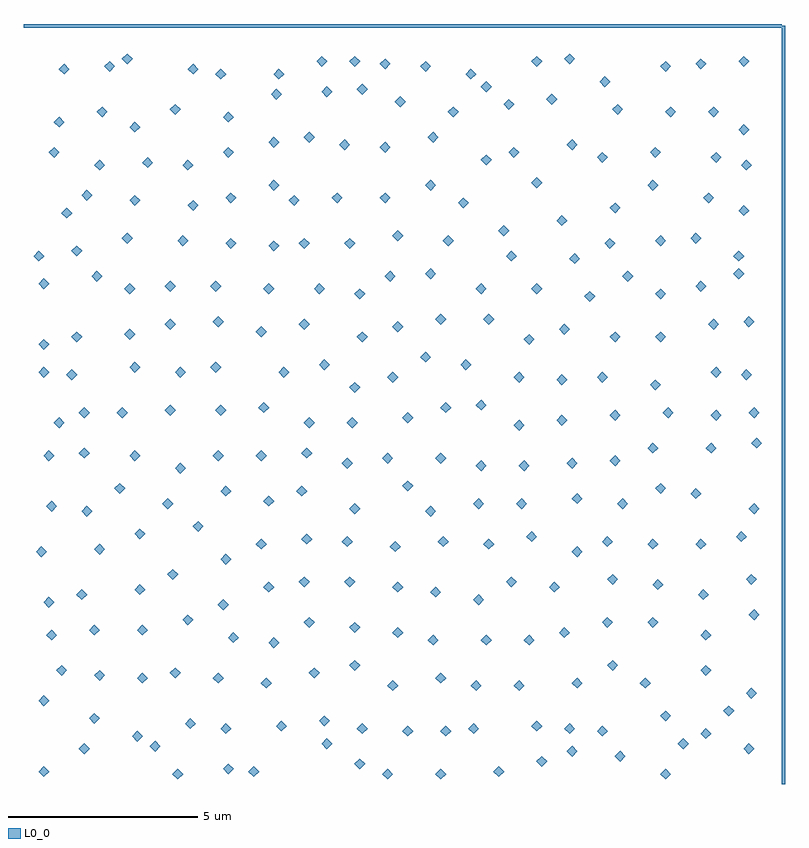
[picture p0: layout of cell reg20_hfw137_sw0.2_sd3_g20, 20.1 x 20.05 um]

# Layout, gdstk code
import gdstk
lib = gdstk.Library(unit=1e-6, precision=1e-11)
def R(c, l, rs):  # rectangles x0, y0, x1, y1
    for r in rs: c.add(gdstk.rectangle(r[:2], r[2:], *l))
def P(c, l, *ps):  # polygons
    for p in ps: c.add(gdstk.Polygon(p, *l))
L0_0 = (0, 0)

reg20_hfw137_sw0_2_sd3_g = lib.new_cell('reg20_hfw137_sw0.2_sd3_g20')
R(reg20_hfw137_sw0_2_sd3_g, L0_0, [(20,0,20.1,20), (0,19.95,20,20.05)])
P(reg20_hfw137_sw0_2_sd3_g, L0_0, [(0.404,14.0707),(0.5455,13.9293),(0.404,13.7879),(0.2626,13.9293)],
  [(0.4707,6.2707),(0.6121,6.1293),(0.4707,5.9879),(0.3293,6.1293)],
  [(0.5374,0.4707),(0.6788,0.3293),(0.5374,0.1879),(0.396,0.3293)],
  [(0.5374,2.3374),(0.6788,2.196),(0.5374,2.0545),(0.396,2.196)],
  [(0.5374,11.004),(0.6788,10.8626),(0.5374,10.7212),(0.396,10.8626)],
  [(0.5374,11.7374),(0.6788,11.596),(0.5374,11.4545),(0.396,11.596)],
  [(0.5374,13.3374),(0.6788,13.196),(0.5374,13.0545),(0.396,13.196)],
  [(0.6707,4.9374),(0.8121,4.796),(0.6707,4.6545),(0.5293,4.796)],
  [(0.6707,8.804),(0.8121,8.6626),(0.6707,8.5212),(0.5293,8.6626)],
  [(0.7374,4.0707),(0.8788,3.9293),(0.7374,3.7879),(0.596,3.9293)],
  [(0.7374,7.4707),(0.8788,7.3293),(0.7374,7.1879),(0.596,7.3293)],
  [(0.804,16.804),(0.9455,16.6626),(0.804,16.5212),(0.6626,16.6626)],
  [(0.9374,9.6707),(1.0788,9.5293),(0.9374,9.3879),(0.796,9.5293)],
  [(0.9374,17.604),(1.0788,17.4626),(0.9374,17.3212),(0.796,17.4626)],
  [(1.004,3.1374),(1.1455,2.996),(1.004,2.8545),(0.8626,2.996)],
  [(1.0707,19.004),(1.2121,18.8626),(1.0707,18.7212),(0.9293,18.8626)],
  [(1.1374,15.204),(1.2788,15.0626),(1.1374,14.9212),(0.996,15.0626)],
  [(1.2707,10.9374),(1.4121,10.796),(1.2707,10.6545),(1.1293,10.796)],
  [(1.404,11.9374),(1.5455,11.796),(1.404,11.6545),(1.2626,11.796)],
  [(1.404,14.204),(1.5455,14.0626),(1.404,13.9212),(1.2626,14.0626)],
  [(1.5374,5.1374),(1.6788,4.996),(1.5374,4.8545),(1.396,4.996)],
  [(1.604,1.0707),(1.7455,0.9293),(1.604,0.7879),(1.4626,0.9293)],
  [(1.604,8.8707),(1.7455,8.7293),(1.604,8.5879),(1.4626,8.7293)],
  [(1.604,9.9374),(1.7455,9.796),(1.604,9.6545),(1.4626,9.796)],
  [(1.6707,7.3374),(1.8121,7.196),(1.6707,7.0545),(1.5293,7.196)],
  [(1.6707,15.6707),(1.8121,15.5293),(1.6707,15.3879),(1.5293,15.5293)],
  [(1.8707,1.8707),(2.0121,1.7293),(1.8707,1.5879),(1.7293,1.7293)],
  [(1.8707,4.204),(2.0121,4.0626),(1.8707,3.9212),(1.7293,4.0626)],
  [(1.9374,13.5374),(2.0788,13.396),(1.9374,13.2545),(1.796,13.396)],
  [(2.004,3.004),(2.1455,2.8626),(2.004,2.7212),(1.8626,2.8626)],
  [(2.004,6.3374),(2.1455,6.196),(2.004,6.0545),(1.8626,6.196)],
  [(2.004,16.4707),(2.1455,16.3293),(2.004,16.1879),(1.8626,16.3293)],
  [(2.0707,17.8707),(2.2121,17.7293),(2.0707,17.5879),(1.9293,17.7293)],
  [(2.2707,19.0707),(2.4121,18.9293),(2.2707,18.7879),(2.1293,18.9293)],
  [(2.5374,7.9374),(2.6788,7.796),(2.5374,7.6545),(2.396,7.796)],
  [(2.604,9.9374),(2.7455,9.796),(2.604,9.6545),(2.4626,9.796)],
  [(2.7374,14.5374),(2.8788,14.396),(2.7374,14.2545),(2.596,14.396)],
  [(2.7374,19.2707),(2.8788,19.1293),(2.7374,18.9879),(2.596,19.1293)],
  [(2.804,12.004),(2.9455,11.8626),(2.804,11.7212),(2.6626,11.8626)],
  [(2.804,13.204),(2.9455,13.0626),(2.804,12.9212),(2.6626,13.0626)],
  [(2.9374,8.804),(3.0788,8.6626),(2.9374,8.5212),(2.796,8.6626)],
  [(2.9374,11.1374),(3.0788,10.996),(2.9374,10.8545),(2.796,10.996)],
  [(2.9374,15.5374),(3.0788,15.396),(2.9374,15.2545),(2.796,15.396)],
  [(2.9374,17.4707),(3.0788,17.3293),(2.9374,17.1879),(2.796,17.3293)],
  [(3.004,1.404),(3.1455,1.2626),(3.004,1.1212),(2.8626,1.2626)],
  [(3.0707,5.2707),(3.2121,5.1293),(3.0707,4.9879),(2.9293,5.1293)],
  [(3.0707,6.7374),(3.2121,6.596),(3.0707,6.4545),(2.9293,6.596)],
  [(3.1374,2.9374),(3.2788,2.796),(3.1374,2.6545),(2.996,2.796)],
  [(3.1374,4.204),(3.2788,4.0626),(3.1374,3.9212),(2.996,4.0626)],
  [(3.2707,16.5374),(3.4121,16.396),(3.2707,16.2545),(3.1293,16.396)],
  [(3.4707,1.1374),(3.6121,0.996),(3.4707,0.8545),(3.3293,0.996)],
  [(3.804,7.5374),(3.9455,7.396),(3.804,7.2545),(3.6626,7.396)],
  [(3.8707,10.004),(4.0121,9.8626),(3.8707,9.7212),(3.7293,9.8626)],
  [(3.8707,12.2707),(4.0121,12.1293),(3.8707,11.9879),(3.7293,12.1293)],
  [(3.8707,13.2707),(4.0121,13.1293),(3.8707,12.9879),(3.7293,13.1293)],
  [(3.9374,5.6707),(4.0788,5.5293),(3.9374,5.3879),(3.796,5.5293)],
  [(4.004,3.0707),(4.1455,2.9293),(4.004,2.7879),(3.8626,2.9293)],
  [(4.004,17.9374),(4.1455,17.796),(4.004,17.6545),(3.8626,17.796)],
  [(4.0707,0.404),(4.2121,0.2626),(4.0707,0.1212),(3.9293,0.2626)],
  [(4.1374,8.4707),(4.2788,8.3293),(4.1374,8.1879),(3.996,8.3293)],
  [(4.1374,11.004),(4.2788,10.8626),(4.1374,10.7212),(3.996,10.8626)],
  [(4.204,14.4707),(4.3455,14.3293),(4.204,14.1879),(4.0626,14.3293)],
  [(4.3374,4.4707),(4.4788,4.3293),(4.3374,4.1879),(4.196,4.3293)],
  [(4.3374,16.4707),(4.4788,16.3293),(4.3374,16.1879),(4.196,16.3293)],
  [(4.404,1.7374),(4.5455,1.596),(4.404,1.4545),(4.2626,1.596)],
  [(4.4707,15.404),(4.6121,15.2626),(4.4707,15.1212),(4.3293,15.2626)],
  [(4.4707,19.004),(4.6121,18.8626),(4.4707,18.7212),(4.3293,18.8626)],
  [(4.604,6.9374),(4.7455,6.796),(4.604,6.6545),(4.4626,6.796)],
  [(5.0707,11.1374),(5.2121,10.996),(5.0707,10.8545),(4.9293,10.996)],
  [(5.0707,13.2707),(5.2121,13.1293),(5.0707,12.9879),(4.9293,13.1293)],
  [(5.1374,2.9374),(5.2788,2.796),(5.1374,2.6545),(4.996,2.796)],
  [(5.1374,8.804),(5.2788,8.6626),(5.1374,8.5212),(4.996,8.6626)],
  [(5.1374,12.3374),(5.2788,12.196),(5.1374,12.0545),(4.996,12.196)],
  [(5.204,10.004),(5.3455,9.8626),(5.204,9.7212),(5.0626,9.8626)],
  [(5.204,18.8707),(5.3455,18.7293),(5.204,18.5879),(5.0626,18.7293)],
  [(5.2707,4.8707),(5.4121,4.7293),(5.2707,4.5879),(5.1293,4.7293)],
  [(5.3374,1.604),(5.4788,1.4626),(5.3374,1.3212),(5.196,1.4626)],
  [(5.3374,6.0707),(5.4788,5.9293),(5.3374,5.7879),(5.196,5.9293)],
  [(5.3374,7.8707),(5.4788,7.7293),(5.3374,7.5879),(5.196,7.7293)],
  [(5.404,0.5374),(5.5455,0.396),(5.404,0.2545),(5.2626,0.396)],
  [(5.404,16.804),(5.5455,16.6626),(5.404,16.5212),(5.2626,16.6626)],
  [(5.404,17.7374),(5.5455,17.596),(5.404,17.4545),(5.2626,17.596)],
  [(5.4707,14.404),(5.6121,14.2626),(5.4707,14.1212),(5.3293,14.2626)],
  [(5.4707,15.604),(5.6121,15.4626),(5.4707,15.3212),(5.3293,15.4626)],
  [(5.5374,4.004),(5.6788,3.8626),(5.5374,3.7212),(5.396,3.8626)],
  [(6.0707,0.4707),(6.2121,0.3293),(6.0707,0.1879),(5.9293,0.3293)],
  [(6.2707,6.4707),(6.4121,6.3293),(6.2707,6.1879),(6.1293,6.3293)],
  [(6.2707,8.804),(6.4121,8.6626),(6.2707,8.5212),(6.1293,8.6626)],
  [(6.2707,12.0707),(6.4121,11.9293),(6.2707,11.7879),(6.1293,11.9293)],
  [(6.3374,10.0707),(6.4788,9.9293),(6.3374,9.7879),(6.196,9.9293)],
  [(6.404,2.804),(6.5455,2.6626),(6.404,2.5212),(6.2626,2.6626)],
  [(6.4707,5.3374),(6.6121,5.196),(6.4707,5.0545),(6.3293,5.196)],
  [(6.4707,7.604),(6.6121,7.4626),(6.4707,7.3212),(6.3293,7.4626)],
  [(6.4707,13.204),(6.6121,13.0626),(6.4707,12.9212),(6.3293,13.0626)],
  [(6.604,3.8707),(6.7455,3.7293),(6.604,3.5879),(6.4626,3.7293)],
  [(6.604,14.3374),(6.7455,14.196),(6.604,14.0545),(6.4626,14.196)],
  [(6.604,15.9374),(6.7455,15.796),(6.604,15.6545),(6.4626,15.796)],
  [(6.604,17.0707),(6.7455,16.9293),(6.604,16.7879),(6.4626,16.9293)],
  [(6.6707,18.3374),(6.8121,18.196),(6.6707,18.0545),(6.5293,18.196)],
  [(6.7374,18.8707),(6.8788,18.7293),(6.7374,18.5879),(6.596,18.7293)],
  [(6.804,1.6707),(6.9455,1.5293),(6.804,1.3879),(6.6626,1.5293)],
  [(6.8707,11.004),(7.0121,10.8626),(6.8707,10.7212),(6.7293,10.8626)],
  [(7.1374,15.5374),(7.2788,15.396),(7.1374,15.2545),(6.996,15.396)],
  [(7.3374,7.8707),(7.4788,7.7293),(7.3374,7.5879),(7.196,7.7293)],
  [(7.404,5.4707),(7.5455,5.3293),(7.404,5.1879),(7.2626,5.3293)],
  [(7.404,12.2707),(7.5455,12.1293),(7.404,11.9879),(7.2626,12.1293)],
  [(7.404,14.404),(7.5455,14.2626),(7.404,14.1212),(7.2626,14.2626)],
  [(7.4707,6.604),(7.6121,6.4626),(7.4707,6.3212),(7.3293,6.4626)],
  [(7.4707,8.8707),(7.6121,8.7293),(7.4707,8.5879),(7.3293,8.7293)],
  [(7.5374,4.404),(7.6788,4.2626),(7.5374,4.1212),(7.396,4.2626)],
  [(7.5374,9.6707),(7.6788,9.5293),(7.5374,9.3879),(7.396,9.5293)],
  [(7.5374,17.204),(7.6788,17.0626),(7.5374,16.9212),(7.396,17.0626)],
  [(7.6707,3.0707),(7.8121,2.9293),(7.6707,2.7879),(7.5293,2.9293)],
  [(7.804,13.204),(7.9455,13.0626),(7.804,12.9212),(7.6626,13.0626)],
  [(7.8707,19.204),(8.0121,19.0626),(7.8707,18.9212),(7.7293,19.0626)],
  [(7.9374,1.804),(8.0788,1.6626),(7.9374,1.5212),(7.796,1.6626)],
  [(7.9374,11.204),(8.0788,11.0626),(7.9374,10.9212),(7.796,11.0626)],
  [(8.004,1.204),(8.1455,1.0626),(8.004,0.9212),(7.8626,1.0626)],
  [(8.004,18.404),(8.1455,18.2626),(8.004,18.1212),(7.8626,18.2626)],
  [(8.2707,15.604),(8.4121,15.4626),(8.2707,15.3212),(8.1293,15.4626)],
  [(8.4707,17.004),(8.6121,16.8626),(8.4707,16.7212),(8.3293,16.8626)],
  [(8.5374,6.5374),(8.6788,6.396),(8.5374,6.2545),(8.396,6.396)],
  [(8.5374,8.604),(8.6788,8.4626),(8.5374,8.3212),(8.396,8.4626)],
  [(8.604,5.4707),(8.7455,5.3293),(8.604,5.1879),(8.4626,5.3293)],
  [(8.604,14.404),(8.7455,14.2626),(8.604,14.1212),(8.4626,14.2626)],
  [(8.6707,9.6707),(8.8121,9.5293),(8.6707,9.3879),(8.5293,9.5293)],
  [(8.7374,3.2707),(8.8788,3.1293),(8.7374,2.9879),(8.596,3.1293)],
  [(8.7374,4.2707),(8.8788,4.1293),(8.7374,3.9879),(8.596,4.1293)],
  [(8.7374,7.404),(8.8788,7.2626),(8.7374,7.1212),(8.596,7.2626)],
  [(8.7374,10.604),(8.8788,10.4626),(8.7374,10.3212),(8.596,10.4626)],
  [(8.7374,19.204),(8.8788,19.0626),(8.7374,18.9212),(8.596,19.0626)],
  [(8.8707,0.6707),(9.0121,0.5293),(8.8707,0.3879),(8.7293,0.5293)],
  [(8.8707,13.0707),(9.0121,12.9293),(8.8707,12.7879),(8.7293,12.9293)],
  [(8.9374,1.604),(9.0788,1.4626),(8.9374,1.3212),(8.796,1.4626)],
  [(8.9374,11.9374),(9.0788,11.796),(8.9374,11.6545),(8.796,11.796)],
  [(8.9374,18.4707),(9.0788,18.3293),(8.9374,18.1879),(8.796,18.3293)],
  [(9.5374,15.604),(9.6788,15.4626),(9.5374,15.3212),(9.396,15.4626)],
  [(9.5374,16.9374),(9.6788,16.796),(9.5374,16.6545),(9.396,16.796)],
  [(9.5374,19.1374),(9.6788,18.996),(9.5374,18.8545),(9.396,18.996)],
  [(9.604,0.404),(9.7455,0.2626),(9.604,0.1212),(9.4626,0.2626)],
  [(9.604,8.7374),(9.7455,8.596),(9.604,8.4545),(9.4626,8.596)],
  [(9.6707,13.5374),(9.8121,13.396),(9.6707,13.2545),(9.5293,13.396)],
  [(9.7374,2.7374),(9.8788,2.596),(9.7374,2.4545),(9.596,2.596)],
  [(9.7374,10.8707),(9.8788,10.7293),(9.7374,10.5879),(9.596,10.7293)],
  [(9.804,6.404),(9.9455,6.2626),(9.804,6.1212),(9.6626,6.2626)],
  [(9.8707,4.1374),(10.0121,3.996),(9.8707,3.8545),(9.7293,3.996)],
  [(9.8707,5.3374),(10.0121,5.196),(9.8707,5.0545),(9.7293,5.196)],
  [(9.8707,12.204),(10.0121,12.0626),(9.8707,11.9212),(9.7293,12.0626)],
  [(9.8707,14.604),(10.0121,14.4626),(9.8707,14.3212),(9.7293,14.4626)],
  [(9.9374,18.1374),(10.0788,17.996),(9.9374,17.8545),(9.796,17.996)],
  [(10.1374,1.5374),(10.2788,1.396),(10.1374,1.2545),(9.996,1.396)],
  [(10.1374,8.004),(10.2788,7.8626),(10.1374,7.7212),(9.996,7.8626)],
  [(10.1374,9.804),(10.2788,9.6626),(10.1374,9.5212),(9.996,9.6626)],
  [(10.604,11.404),(10.7455,11.2626),(10.604,11.1212),(10.4626,11.2626)],
  [(10.604,19.0707),(10.7455,18.9293),(10.604,18.7879),(10.4626,18.9293)],
  [(10.7374,7.3374),(10.8788,7.196),(10.7374,7.0545),(10.596,7.196)],
  [(10.7374,13.604),(10.8788,13.4626),(10.7374,13.3212),(10.596,13.4626)],
  [(10.7374,15.9374),(10.8788,15.796),(10.7374,15.6545),(10.596,15.796)],
  [(10.804,3.9374),(10.9455,3.796),(10.804,3.6545),(10.6626,3.796)],
  [(10.804,17.204),(10.9455,17.0626),(10.804,16.9212),(10.6626,17.0626)],
  [(10.8707,5.204),(11.0121,5.0626),(10.8707,4.9212),(10.7293,5.0626)],
  [(11.004,0.404),(11.1455,0.2626),(11.004,0.1212),(10.8626,0.2626)],
  [(11.004,2.9374),(11.1455,2.796),(11.004,2.6545),(10.8626,2.796)],
  [(11.004,8.7374),(11.1455,8.596),(11.004,8.4545),(10.8626,8.596)],
  [(11.004,12.404),(11.1455,12.2626),(11.004,12.1212),(10.8626,12.2626)],
  [(11.0707,6.5374),(11.2121,6.396),(11.0707,6.2545),(10.9293,6.396)],
  [(11.1374,1.5374),(11.2788,1.396),(11.1374,1.2545),(10.996,1.396)],
  [(11.1374,10.0707),(11.2788,9.9293),(11.1374,9.7879),(10.996,9.9293)],
  [(11.204,14.4707),(11.3455,14.3293),(11.204,14.1879),(11.0626,14.3293)],
  [(11.3374,17.8707),(11.4788,17.7293),(11.3374,17.5879),(11.196,17.7293)],
  [(11.604,15.4707),(11.7455,15.3293),(11.604,15.1879),(11.4626,15.3293)],
  [(11.6707,11.204),(11.8121,11.0626),(11.6707,10.9212),(11.5293,11.0626)],
  [(11.804,18.8707),(11.9455,18.7293),(11.804,18.5879),(11.6626,18.7293)],
  [(11.8707,1.604),(12.0121,1.4626),(11.8707,1.3212),(11.7293,1.4626)],
  [(11.9374,2.7374),(12.0788,2.596),(11.9374,2.4545),(11.796,2.596)],
  [(12.004,5.004),(12.1455,4.8626),(12.004,4.7212),(11.8626,4.8626)],
  [(12.004,7.5374),(12.1455,7.396),(12.004,7.2545),(11.8626,7.396)],
  [(12.0707,8.5374),(12.2121,8.396),(12.0707,8.2545),(11.9293,8.396)],
  [(12.0707,10.1374),(12.2121,9.996),(12.0707,9.8545),(11.9293,9.996)],
  [(12.0707,13.204),(12.2121,13.0626),(12.0707,12.9212),(11.9293,13.0626)],
  [(12.204,3.9374),(12.3455,3.796),(12.204,3.6545),(12.0626,3.796)],
  [(12.204,16.604),(12.3455,16.4626),(12.204,16.3212),(12.0626,16.4626)],
  [(12.204,18.5374),(12.3455,18.396),(12.204,18.2545),(12.0626,18.396)],
  [(12.2707,6.4707),(12.4121,6.3293),(12.2707,6.1879),(12.1293,6.3293)],
  [(12.2707,12.404),(12.4121,12.2626),(12.2707,12.1212),(12.1293,12.2626)],
  [(12.5374,0.4707),(12.6788,0.3293),(12.5374,0.1879),(12.396,0.3293)],
  [(12.6707,14.7374),(12.8121,14.596),(12.6707,14.4545),(12.5293,14.596)],
  [(12.804,18.0707),(12.9455,17.9293),(12.804,17.7879),(12.6626,17.9293)],
  [(12.8707,5.4707),(13.0121,5.3293),(12.8707,5.1879),(12.7293,5.3293)],
  [(12.8707,14.0707),(13.0121,13.9293),(12.8707,13.7879),(12.7293,13.9293)],
  [(12.9374,16.804),(13.0788,16.6626),(12.9374,16.5212),(12.796,16.6626)],
  [(13.0707,2.7374),(13.2121,2.596),(13.0707,2.4545),(12.9293,2.596)],
  [(13.0707,9.604),(13.2121,9.4626),(13.0707,9.3212),(12.9293,9.4626)],
  [(13.0707,10.8707),(13.2121,10.7293),(13.0707,10.5879),(12.9293,10.7293)],
  [(13.1374,7.5374),(13.2788,7.396),(13.1374,7.2545),(12.996,7.396)],
  [(13.204,8.5374),(13.3455,8.396),(13.204,8.2545),(13.0626,8.396)],
  [(13.3374,3.9374),(13.4788,3.796),(13.3374,3.6545),(13.196,3.796)],
  [(13.3374,11.8707),(13.4788,11.7293),(13.3374,11.5879),(13.196,11.7293)],
  [(13.404,6.6707),(13.5455,6.5293),(13.404,6.3879),(13.2626,6.5293)],
  [(13.5374,1.6707),(13.6788,1.5293),(13.5374,1.3879),(13.396,1.5293)],
  [(13.5374,13.204),(13.6788,13.0626),(13.5374,12.9212),(13.396,13.0626)],
  [(13.5374,16.004),(13.6788,15.8626),(13.5374,15.7212),(13.396,15.8626)],
  [(13.5374,19.204),(13.6788,19.0626),(13.5374,18.9212),(13.396,19.0626)],
  [(13.6707,0.7374),(13.8121,0.596),(13.6707,0.4545),(13.5293,0.596)],
  [(13.9374,18.204),(14.0788,18.0626),(13.9374,17.9212),(13.796,18.0626)],
  [(14.004,5.3374),(14.1455,5.196),(14.004,5.0545),(13.8626,5.196)],
  [(14.204,9.7374),(14.3455,9.596),(14.204,9.4545),(14.0626,9.596)],
  [(14.204,10.804),(14.3455,10.6626),(14.204,10.5212),(14.0626,10.6626)],
  [(14.204,15.004),(14.3455,14.8626),(14.204,14.7212),(14.0626,14.8626)],
  [(14.2707,4.1374),(14.4121,3.996),(14.2707,3.8545),(14.1293,3.996)],
  [(14.2707,12.1374),(14.4121,11.996),(14.2707,11.8545),(14.1293,11.996)],
  [(14.404,1.604),(14.5455,1.4626),(14.404,1.3212),(14.2626,1.4626)],
  [(14.404,19.2707),(14.5455,19.1293),(14.404,18.9879),(14.2626,19.1293)],
  [(14.4707,1.004),(14.6121,0.8626),(14.4707,0.7212),(14.3293,0.8626)],
  [(14.4707,8.604),(14.6121,8.4626),(14.4707,8.3212),(14.3293,8.4626)],
  [(14.4707,17.004),(14.6121,16.8626),(14.4707,16.7212),(14.3293,16.8626)],
  [(14.5374,14.004),(14.6788,13.8626),(14.5374,13.7212),(14.396,13.8626)],
  [(14.604,2.804),(14.7455,2.6626),(14.604,2.5212),(14.4626,2.6626)],
  [(14.604,6.2707),(14.7455,6.1293),(14.604,5.9879),(14.4626,6.1293)],
  [(14.604,7.6707),(14.7455,7.5293),(14.604,7.3879),(14.4626,7.5293)],
  [(14.9374,13.004),(15.0788,12.8626),(14.9374,12.7212),(14.796,12.8626)],
  [(15.2707,1.5374),(15.4121,1.396),(15.2707,1.2545),(15.1293,1.396)],
  [(15.2707,10.8707),(15.4121,10.7293),(15.2707,10.5879),(15.1293,10.7293)],
  [(15.2707,16.6707),(15.4121,16.5293),(15.2707,16.3879),(15.1293,16.5293)],
  [(15.3374,18.6707),(15.4788,18.5293),(15.3374,18.3879),(15.196,18.5293)],
  [(15.404,4.404),(15.5455,4.2626),(15.404,4.1212),(15.2626,4.2626)],
  [(15.404,6.5374),(15.5455,6.396),(15.404,6.2545),(15.2626,6.396)],
  [(15.4707,14.404),(15.6121,14.2626),(15.4707,14.1212),(15.3293,14.2626)],
  [(15.5374,3.2707),(15.6788,3.1293),(15.5374,2.9879),(15.396,3.1293)],
  [(15.5374,5.5374),(15.6788,5.396),(15.5374,5.2545),(15.396,5.396)],
  [(15.604,8.6707),(15.7455,8.5293),(15.604,8.3879),(15.4626,8.5293)],
  [(15.604,9.8707),(15.7455,9.7293),(15.604,9.5879),(15.4626,9.7293)],
  [(15.604,11.9374),(15.7455,11.796),(15.604,11.6545),(15.4626,11.796)],
  [(15.604,15.3374),(15.7455,15.196),(15.604,15.0545),(15.4626,15.196)],
  [(15.6707,17.9374),(15.8121,17.796),(15.6707,17.6545),(15.5293,17.796)],
  [(15.7374,0.8707),(15.8788,0.7293),(15.7374,0.5879),(15.596,0.7293)],
  [(15.804,7.5374),(15.9455,7.396),(15.804,7.2545),(15.6626,7.396)],
  [(15.9374,13.5374),(16.0788,13.396),(15.9374,13.2545),(15.796,13.396)],
  [(16.404,2.804),(16.5455,2.6626),(16.404,2.5212),(16.2626,2.6626)],
  [(16.604,4.404),(16.7455,4.2626),(16.604,4.1212),(16.4626,4.2626)],
  [(16.604,6.4707),(16.7455,6.3293),(16.604,6.1879),(16.4626,6.3293)],
  [(16.604,9.004),(16.7455,8.8626),(16.604,8.7212),(16.4626,8.8626)],
  [(16.604,15.9374),(16.7455,15.796),(16.604,15.6545),(16.4626,15.796)],
  [(16.6707,10.6707),(16.8121,10.5293),(16.6707,10.3879),(16.5293,10.5293)],
  [(16.6707,16.804),(16.8121,16.6626),(16.6707,16.5212),(16.5293,16.6626)],
  [(16.7374,5.404),(16.8788,5.2626),(16.7374,5.1212),(16.596,5.2626)],
  [(16.804,7.9374),(16.9455,7.796),(16.804,7.6545),(16.6626,7.796)],
  [(16.804,11.9374),(16.9455,11.796),(16.804,11.6545),(16.6626,11.796)],
  [(16.804,13.0707),(16.9455,12.9293),(16.804,12.7879),(16.6626,12.9293)],
  [(16.804,14.4707),(16.9455,14.3293),(16.804,14.1879),(16.6626,14.3293)],
  [(16.9374,0.404),(17.0788,0.2626),(16.9374,0.1212),(16.796,0.2626)],
  [(16.9374,1.9374),(17.0788,1.796),(16.9374,1.6545),(16.796,1.796)],
  [(16.9374,19.0707),(17.0788,18.9293),(16.9374,18.7879),(16.796,18.9293)],
  [(17.004,9.9374),(17.1455,9.796),(17.004,9.6545),(16.8626,9.796)],
  [(17.0707,17.8707),(17.2121,17.7293),(17.0707,17.5879),(16.9293,17.7293)],
  [(17.404,1.204),(17.5455,1.0626),(17.404,0.9212),(17.2626,1.0626)],
  [(17.7374,7.804),(17.8788,7.6626),(17.7374,7.5212),(17.596,7.6626)],
  [(17.7374,14.5374),(17.8788,14.396),(17.7374,14.2545),(17.596,14.396)],
  [(17.8707,6.4707),(18.0121,6.3293),(17.8707,6.1879),(17.7293,6.3293)],
  [(17.8707,13.2707),(18.0121,13.1293),(17.8707,12.9879),(17.7293,13.1293)],
  [(17.8707,19.1374),(18.0121,18.996),(17.8707,18.8545),(17.7293,18.996)],
  [(17.9374,5.1374),(18.0788,4.996),(17.9374,4.8545),(17.796,4.996)],
  [(18.004,1.4707),(18.1455,1.3293),(18.004,1.1879),(17.8626,1.3293)],
  [(18.004,3.1374),(18.1455,2.996),(18.004,2.8545),(17.8626,2.996)],
  [(18.004,4.0707),(18.1455,3.9293),(18.004,3.7879),(17.8626,3.9293)],
  [(18.0707,15.604),(18.2121,15.4626),(18.0707,15.3212),(17.9293,15.4626)],
  [(18.1374,9.004),(18.2788,8.8626),(18.1374,8.7212),(17.996,8.8626)],
  [(18.204,12.2707),(18.3455,12.1293),(18.204,11.9879),(18.0626,12.1293)],
  [(18.204,17.8707),(18.3455,17.7293),(18.204,17.5879),(18.0626,17.7293)],
  [(18.2707,9.8707),(18.4121,9.7293),(18.2707,9.5879),(18.1293,9.7293)],
  [(18.2707,11.004),(18.4121,10.8626),(18.2707,10.7212),(18.1293,10.8626)],
  [(18.2707,16.6707),(18.4121,16.5293),(18.2707,16.3879),(18.1293,16.5293)],
  [(18.604,2.0707),(18.7455,1.9293),(18.604,1.7879),(18.4626,1.9293)],
  [(18.8707,13.604),(19.0121,13.4626),(18.8707,13.3212),(18.7293,13.4626)],
  [(18.8707,14.0707),(19.0121,13.9293),(18.8707,13.7879),(18.7293,13.9293)],
  [(18.9374,6.6707),(19.0788,6.5293),(18.9374,6.3879),(18.796,6.5293)],
  [(19.004,15.2707),(19.1455,15.1293),(19.004,14.9879),(18.8626,15.1293)],
  [(19.004,17.404),(19.1455,17.2626),(19.004,17.1212),(18.8626,17.2626)],
  [(19.004,19.204),(19.1455,19.0626),(19.004,18.9212),(18.8626,19.0626)],
  [(19.0707,10.9374),(19.2121,10.796),(19.0707,10.6545),(18.9293,10.796)],
  [(19.0707,16.4707),(19.2121,16.3293),(19.0707,16.1879),(18.9293,16.3293)],
  [(19.1374,1.0707),(19.2788,0.9293),(19.1374,0.7879),(18.996,0.9293)],
  [(19.1374,12.3374),(19.2788,12.196),(19.1374,12.0545),(18.996,12.196)],
  [(19.204,2.5374),(19.3455,2.396),(19.204,2.2545),(19.0626,2.396)],
  [(19.204,5.5374),(19.3455,5.396),(19.204,5.2545),(19.0626,5.396)],
  [(19.2707,4.604),(19.4121,4.4626),(19.2707,4.3212),(19.1293,4.4626)],
  [(19.2707,7.404),(19.4121,7.2626),(19.2707,7.1212),(19.1293,7.2626)],
  [(19.2707,9.9374),(19.4121,9.796),(19.2707,9.6545),(19.1293,9.796)],
  [(19.3374,9.1374),(19.4788,8.996),(19.3374,8.8545),(19.196,8.996)])

lib.write_gds('reg20_hfw137_sw0.2_sd3_g20.gds')
